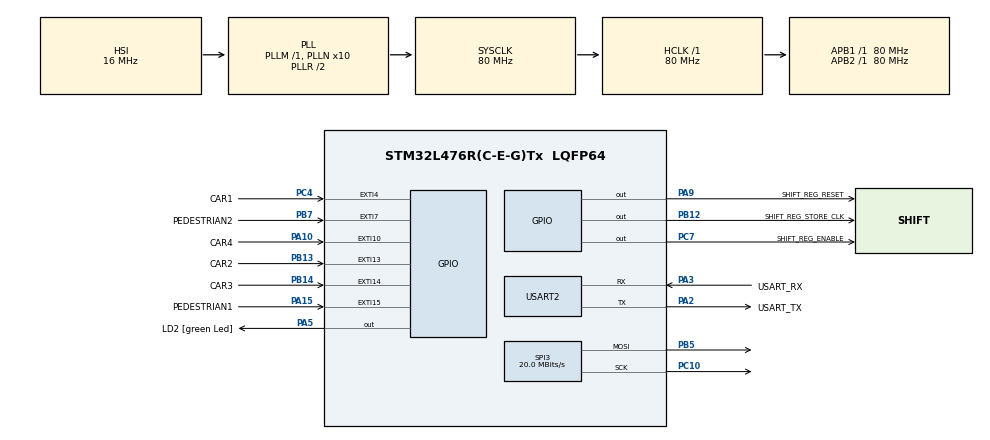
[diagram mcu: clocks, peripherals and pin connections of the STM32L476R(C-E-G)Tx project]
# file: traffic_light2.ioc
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FREERTOS.BinarySemaphores01=ISR_semaphore,Dynamic,NULL;blink1_semaphore,Dynamic,NULL;blink2_semaphore,Dynamic,NULL;yellow_semaphore,Dynamic,NULL;start_yellow_semaphore,Dynamic,NULL
FREERTOS.Mutexes01=STATE_MUTEX,Dynamic,NULL
FREERTOS.Queues01=STATE_QUEUE,16,uint32_t,0,Dynamic,NULL,NULL
FREERTOS.Tasks01=defaultTask,24,128,StartDefaultTask,Default,NULL,Dynamic,NULL,NULL;UPDATE_STATE_TA,24,256,UPDATE_STATE,Default,NULL,Dynamic,NULL,NULL;YELLOW_TASK,24,512,RUN_YELLOW,Default,NULL,Dynamic,NULL,NULL;RUN_STATES_TASK,25,512,RUN_STATES,Default,NULL,Dynamic,NULL,NULL;PEDESTRIAN_TASK,25,512,PEDESTRIAN_BLINK,Default,NULL,Dynamic,NULL,NULL;ISR_task,40,8000,ISR_rtos,Default,NULL,Dynamic,NULL,NULL;PD_TASK2,25,512,PEDESTRIAN_BLINK2,Default,NULL,Dynamic,NULL,NULL;BASE_TASK,24,512,BASE,Default,NULL,Dynamic,NULL,NULL
FREERTOS.Timers01=TIM_orange_delay,Orange_delay,osTimerOnce,Default,NULL,Dynamic,NULL;TIM_pedestrianDelay,pedestrian_delay,osTimerOnce,Default,NULL,Dynamic,NULL;TIM_green_delay,green_delay,osTimerPeriodic,Default,NULL,Dynamic,NULL;TIM_yellow,yellow_delay,osTimerOnce,Default,NULL,Dynamic,NULL
FREERTOS.configTOTAL_HEAP_SIZE=50000
FREERTOS.configUSE_NEWLIB_REENTRANT=1
Mcu.Family=STM32L4
Mcu.Name=STM32L476R(C-E-G)Tx
Mcu.Package=LQFP64
NVIC.EXTI15_10_IRQn=true\:5\:0\:false\:false\:true\:true\:true\:true\:true
NVIC.EXTI4_IRQn=true\:5\:0\:false\:false\:true\:true\:true\:true\:true
NVIC.EXTI9_5_IRQn=true\:5\:0\:false\:false\:true\:true\:true\:true\:true
NVIC.PriorityGroup=NVIC_PRIORITYGROUP_4
NVIC.TIM1_UP_TIM16_IRQn=true\:15\:0\:false\:false\:true\:false\:true\:true\:true
NVIC.TimeBase=TIM1_UP_TIM16_IRQn
NVIC.TimeBaseIP=TIM1
PA10.GPIO_Label=CAR4
PA10.GPIO_ModeDefaultEXTI=GPIO_MODE_IT_RISING_FALLING
PA10.Signal=GPXTI10
PA13\ (JTMS-SWDIO).GPIO_Label=TMS
PA13\ (JTMS-SWDIO).Mode=Serial_Wire
PA13\ (JTMS-SWDIO).Signal=SYS_JTMS-SWDIO
PA14\ (JTCK-SWCLK).GPIO_Label=TCK
PA14\ (JTCK-SWCLK).Mode=Serial_Wire
PA14\ (JTCK-SWCLK).Signal=SYS_JTCK-SWCLK
PA15\ (JTDI).GPIO_Label=PEDESTRIAN1
PA15\ (JTDI).GPIO_PuPd=GPIO_PULLUP
PA15\ (JTDI).Signal=GPXTI15
PA2.GPIO_Label=USART_TX
PA2.GPIO_Mode=GPIO_MODE_AF_PP
PA2.GPIO_PuPd=GPIO_NOPULL
PA2.GPIO_Speed=GPIO_SPEED_FREQ_VERY_HIGH
PA2.Mode=Asynchronous
PA2.Signal=USART2_TX
PA3.GPIO_Label=USART_RX
PA3.GPIO_Mode=GPIO_MODE_AF_PP
PA3.GPIO_PuPd=GPIO_NOPULL
PA3.GPIO_Speed=GPIO_SPEED_FREQ_VERY_HIGH
PA3.Mode=Asynchronous
PA3.Signal=USART2_RX
PA5.GPIO_Label=LD2 [green Led]
PA5.GPIO_ModeDefaultOutputPP=GPIO_MODE_OUTPUT_PP
PA5.GPIO_PuPd=GPIO_NOPULL
PA5.GPIO_Speed=GPIO_SPEED_FREQ_LOW
PA5.Signal=GPIO_Output
PA9.GPIO_Label=SHIFT_REG_RESET
PA9.Signal=GPIO_Output
PB12.GPIO_Label=SHIFT_REG_STORE_CLK
PB12.Signal=GPIO_Output
PB13.GPIO_Label=CAR2
PB13.GPIO_ModeDefaultEXTI=GPIO_MODE_IT_RISING_FALLING
PB13.Signal=GPXTI13
PB14.GPIO_Label=CAR3
PB14.GPIO_ModeDefaultEXTI=GPIO_MODE_IT_RISING_FALLING
PB14.Signal=GPXTI14
PB5.Mode=TX_Only_Simplex_Unidirect_Master
PB5.Signal=SPI3_MOSI
PB7.GPIO_Label=PEDESTRIAN2
PB7.GPIO_PuPd=GPIO_PULLUP
PB7.Signal=GPXTI7
PC10.Mode=TX_Only_Simplex_Unidirect_Master
PC10.Signal=SPI3_SCK
PC14-OSC32_IN\ (PC14).Mode=LSE-External-Oscillator
PC14-OSC32_IN\ (PC14).Signal=RCC_OSC32_IN
PC15-OSC32_OUT\ (PC15).Mode=LSE-External-Oscillator
PC15-OSC32_OUT\ (PC15).Signal=RCC_OSC32_OUT
PC4.GPIO_Label=CAR1
PC4.GPIO_ModeDefaultEXTI=GPIO_MODE_IT_RISING_FALLING
PC4.Signal=GPXTI4
PC7.GPIO_Label=SHIFT_REG_ENABLE
PC7.Signal=GPIO_Output
PH0-OSC_IN\ (PH0).Signal=RCC_OSC_IN
PH1-OSC_OUT\ (PH1).Signal=RCC_OSC_OUT
ProjectManager.HeapSize=0x200
ProjectManager.StackSize=0x400
ProjectManager.TargetToolchain=STM32CubeIDE
RCC.ADCFreq_Value=64000000
RCC.AHBFreq_Value=80000000
RCC.APB1Freq_Value=80000000
RCC.APB1TimFreq_Value=80000000
RCC.APB2Freq_Value=80000000
RCC.APB2TimFreq_Value=80000000
RCC.CortexFreq_Value=80000000
RCC.HCLKFreq_Value=80000000
RCC.HSE_VALUE=8000000
RCC.HSI_VALUE=16000000
RCC.MSI_VALUE=4000000
RCC.PLLN=10
RCC.PLLSourceVirtual=RCC_PLLSOURCE_HSI
RCC.PREFETCH_ENABLE=1
RCC.SYSCLKFreq_VALUE=80000000
RCC.SYSCLKSource=RCC_SYSCLKSOURCE_PLLCLK
RCC.USBFreq_Value=64000000
RCC.VCOOutputFreq_Value=160000000
SPI3.BaudRatePrescaler=SPI_BAUDRATEPRESCALER_4
SPI3.CLKPolarity=SPI_POLARITY_LOW
SPI3.CalculateBaudRate=20.0 MBits/s
SPI3.DataSize=SPI_DATASIZE_8BIT
SPI3.Direction=SPI_DIRECTION_2LINES
SPI3.Mode=SPI_MODE_MASTER
SPI3.VirtualType=VM_MASTER
TIM16.Period=10000 - 1
TIM16.Prescaler=8000-1
USART2.VirtualMode-Asynchronous=VM_ASYNC
VP_FREERTOS_VS_CMSIS_V2.Mode=CMSIS_V2
VP_SYS_VS_tim1.Mode=TIM1
VP_TIM16_VS_ClockSourceINT.Mode=Enable_Timer
board=NUCLEO-L476RG

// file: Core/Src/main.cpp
/* USER CODE BEGIN Header */
/**
 ******************************************************************************
 * @file           : main.c
 * @brief          : Main program body
 ******************************************************************************
 * @attention
 *
 * Copyright (c) 2022 STMicroelectronics.
 * All rights reserved.
 *
 * This software is licensed under terms that can be found in the LICENSE file
 * in the root directory of this software component.
 * If no LICENSE file comes with this software, it is provided AS-IS.
 *
 ******************************************************************************
 */
/** @file */
/**
 *\cond
 */
/* USER CODE END Header */
#include "main.h"
#include "cmsis_os.h"
#include "spi.h"
#include "tim.h"
#include "usart.h"
#include "gpio.h"

/* USER CODE BEGIN Includes */
#include <UpdateLed.h>
#include "tests.h"
#include "States.h"

/** @file */
/* USER CODE END Includes */

/* USER CODE BEGIN PV */
uint8_t led1;
uint8_t led2;
uint8_t led3;
uint8_t leds[] = {led1, led2, led3};
/**
 *\endcond
 */
/**
 * @brief Global variable for bytes that gets sent to leds.
 */
uint8_t LEDS[3] = {0x00, 0x00, 0x00};
/**
 *\cond
 */

//Global states

/* USER CODE END PV */

void SystemClock_Config(void);
void MX_FREERTOS_Init(void);

/* USER CODE BEGIN 0 */
#ifdef RUN_TEST_PROGRAM
extern void initialise_monitor_handles(void);
#endif
/* USER CODE END 0 */

int main(void)
{

    /* MCU Configuration--------------------------------------------------------*/

    /* Reset of all peripherals, Initializes the Flash interface and the Systick. */
    HAL_Init();

    /* Configure the system clock */
    SystemClock_Config();

    /* Initialize all configured peripherals */
    MX_GPIO_Init();
    MX_USART2_UART_Init();
    MX_SPI3_Init();
    MX_TIM16_Init();
    /* USER CODE BEGIN 2 */
    //start timer
    /* HAL_TIM_Base_Start_IT(&htim16); */
    /* uint16_t timer_val; */
    /* timer_val = __HAL_TIM_GET_COUNTER(&htim16); */

    //enable shift reg
    HAL_GPIO_WritePin(SHIFT_REG_ENABLE_GPIO_Port, SHIFT_REG_ENABLE_Pin, GPIO_PIN_RESET);

    //unenable reset
    HAL_GPIO_WritePin(SHIFT_REG_RESET_GPIO_Port, SHIFT_REG_RESET_Pin, GPIO_PIN_SET);

#ifdef RUN_TEST_PROGRAM
    //run tests
    Tests::run(hspi3, leds);
#else
    /* Pingpong(); */
#endif

    /* USER CODE END 2 */

    /* Init scheduler */
    osKernelInitialize();  /* Call init function for freertos objects (in freertos.c) */
    MX_FREERTOS_Init();

    /* Start scheduler */
    osKernelStart();

    /* We should never get here as control is now taken by the scheduler */
    /* Infinite loop */
    while (1)
    {

    }
}

void SystemClock_Config(void)
{
    RCC_OscInitTypeDef RCC_OscInitStruct = {0};
    RCC_ClkInitTypeDef RCC_ClkInitStruct = {0};

    /** Configure the main internal regulator output voltage
    */
    if (HAL_PWREx_ControlVoltageScaling(PWR_REGULATOR_VOLTAGE_SCALE1) != HAL_OK)
    {
        Error_Handler();
    }

    /** Initializes the RCC Oscillators according to the specified parameters
     * in the RCC_OscInitTypeDef structure.
     */
    RCC_OscInitStruct.OscillatorType = RCC_OSCILLATORTYPE_HSI;
    RCC_OscInitStruct.HSIState = RCC_HSI_ON;
    RCC_OscInitStruct.HSICalibrationValue = RCC_HSICALIBRATION_DEFAULT;
    RCC_OscInitStruct.PLL.PLLState = RCC_PLL_ON;
    RCC_OscInitStruct.PLL.PLLSource = RCC_PLLSOURCE_HSI;
    RCC_OscInitStruct.PLL.PLLM = 1;
    RCC_OscInitStruct.PLL.PLLN = 10;
    RCC_OscInitStruct.PLL.PLLP = RCC_PLLP_DIV7;
    RCC_OscInitStruct.PLL.PLLQ = RCC_PLLQ_DIV2;
    RCC_OscInitStruct.PLL.PLLR = RCC_PLLR_DIV2;
    if (HAL_RCC_OscConfig(&RCC_OscInitStruct) != HAL_OK)
    {
        Error_Handler();
    }

    /** Initializes the CPU, AHB and APB buses clocks
    */
    RCC_ClkInitStruct.ClockType = RCC_CLOCKTYPE_HCLK|RCC_CLOCKTYPE_SYSCLK
        |RCC_CLOCKTYPE_PCLK1|RCC_CLOCKTYPE_PCLK2;
    RCC_ClkInitStruct.SYSCLKSource = RCC_SYSCLKSOURCE_PLLCLK;
    RCC_ClkInitStruct.AHBCLKDivider = RCC_SYSCLK_DIV1;
    RCC_ClkInitStruct.APB1CLKDivider = RCC_HCLK_DIV1;
    RCC_ClkInitStruct.APB2CLKDivider = RCC_HCLK_DIV1;

    if (HAL_RCC_ClockConfig(&RCC_ClkInitStruct, FLASH_LATENCY_4) != HAL_OK)
    {
        Error_Handler();
    }
}

void HAL_TIM_PeriodElapsedCallback(TIM_HandleTypeDef *htim)
{
    if (htim->Instance == TIM1) {
        HAL_IncTick();
    }
}

void Error_Handler(void)
{
    __disable_irq();
    while (1)
    {
    }
}

/**
 *\endcond
 */
